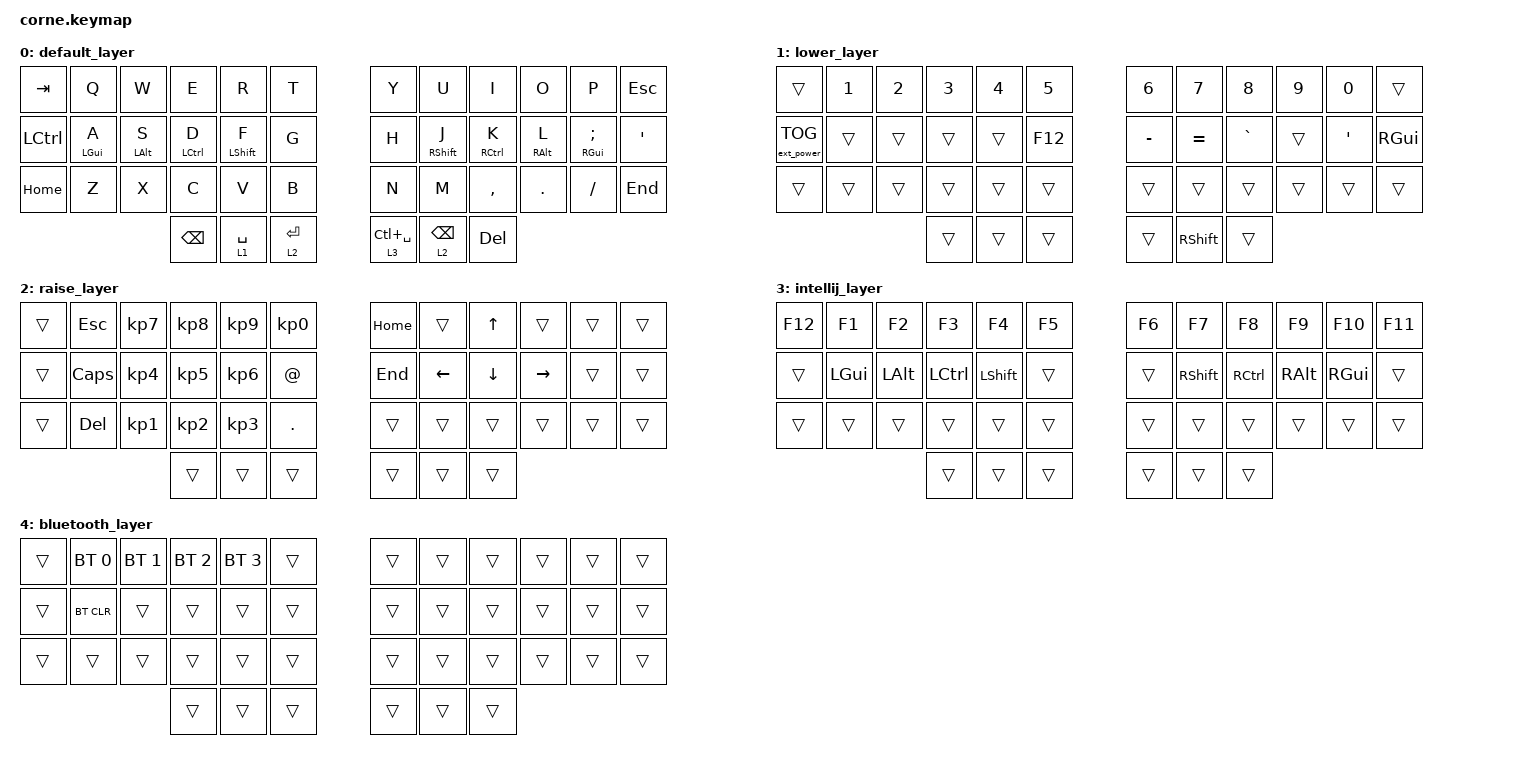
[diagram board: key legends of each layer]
/*
 * Copyright (c) 2020 The ZMK Contributors
 *
 * SPDX-License-Identifier: MIT
 */

#include <behaviors.dtsi>
#include <dt-bindings/zmk/bt.h>
#include <dt-bindings/zmk/keys.h>
#include <dt-bindings/zmk/rgb.h>
#include <dt-bindings/zmk/ext_power.h>
/ {
    behaviors {
        hm: homerow_mods {
            compatible = "zmk,behavior-hold-tap";
            label = "HOMEROW_MODS";
            #binding-cells = <2>;
            tapping-term-ms = <200>;
            quick_tap_ms = <0>;
            flavor = "tap-preferred";
            bindings = <&kp>, <&kp>;

            quick-tap-ms = <180>;
            global-quick-tap;
        };

        ltq: ltq {
            compatible = "zmk,behavior-hold-tap";
            label = "LTQ";
            bindings = <&mo>, <&kp>;

            #binding-cells = <2>;
            tapping-term-ms = <600>;
            global-quick-tap;
            quick-tap-ms = <400>;
        };
    };

    combos {
        compatible = "zmk,combos";

        left_bkt {
            bindings = <&kp LEFT_BRACKET>;
            key-positions = <4 3>;
            timeout-ms = <50>;
        };

        right_bkt {
            bindings = <&kp RBKT>;
            key-positions = <7 8>;
            timeout-ms = <50>;
        };

        left_par {
            bindings = <&kp LEFT_PARENTHESIS>;
            key-positions = <15 16>;
            timeout-ms = <50>;
        };

        right_par {
            bindings = <&kp RIGHT_PARENTHESIS>;
            key-positions = <19 20>;
            timeout-ms = <50>;
        };

        left_brace {
            bindings = <&kp LEFT_BRACE>;
            key-positions = <27 28>;
            timeout-ms = <50>;
        };

        right_brace {
            bindings = <&kp RIGHT_BRACE>;
            key-positions = <32 31>;
            timeout-ms = <50>;
        };

        bac {
            bindings = <&kp BACKSLASH>;
            key-positions = <5 6>;
        };

        pipe {
            bindings = <&kp PIPE>;
            key-positions = <17 18>;
        };

        // New combo to access layer 4 (former layer 3)
        bluetooth_layer {
            bindings = <&mo 4>;
            key-positions = <6 7 8>; // Y, U, I keys
            timeout-ms = <50>;
        };
    };

    keymap {
        compatible = "zmk,keymap";

        default_layer {
            bindings = <
&kp TAB    &kp Q           &kp W           &kp E        &kp R             &kp T        &kp Y  &kp U             &kp I          &kp O            &kp P               &kp ESC
&kp LCTRL  &hm LEFT_GUI A  &hm LEFT_ALT S  &hm LCTRL D  &hm LEFT_SHIFT F  &kp G        &kp H  &hm RSHIFT J      &hm RCTRL K    &hm RIGHT_ALT L  &hm RGUI SEMICOLON  &kp SQT
&kp HOME   &kp Z           &kp X           &kp C        &kp V             &kp B        &kp N  &kp M             &kp COMMA      &kp DOT          &kp FSLH            &kp END
                                         &kp BACKSPACE  &lt 1 SPACE       &lt 2 ENTER  &lt 3 LC(SPACE)  &ltq 2 BACKSPACE  &kp DEL
            >;
        };

        lower_layer {
            bindings = <
&trans         &kp N1     &kp N2  &kp N3  &kp N4   &kp N5     &kp N6           &kp N7     &kp N8     &kp N9   &kp N0    &trans
&ext_power EP_TOG &trans  &trans  &trans  &trans   &kp F12    &kp MINUS        &kp EQUAL  &kp GRAVE  &trans   &kp SQT   &kp RGUI
&trans         &trans     &trans  &trans  &trans   &trans     &trans           &trans     &trans     &trans   &trans    &trans
                          &trans  &trans  &trans   &trans     &kp RIGHT_SHIFT  &trans
            >;
        };

        raise_layer {
            bindings = <
&trans  &kp ESC     &kp KP_NUMBER_7  &kp KP_NUMBER_8  &kp KP_NUMBER_9  &kp KP_NUMBER_0  &kp HOME  &trans    &kp UP    &trans     &trans  &trans
&trans  &kp CAPS    &kp KP_NUMBER_4  &kp KP_NUMBER_5  &kp KP_NUMBER_6  &kp AT           &kp END   &kp LEFT  &kp DOWN  &kp RIGHT  &trans  &trans
&trans  &kp DELETE  &kp KP_NUMBER_1  &kp KP_NUMBER_2  &kp KP_NUMBER_3  &kp DOT          &trans    &trans    &trans    &trans     &trans  &trans
                                     &trans           &trans           &trans           &trans    &trans    &trans
    >;
};

intellij_layer {
    bindings = <
&kp F12  &kp F1        &kp F2        &kp F3     &kp F4          &kp F5       &kp F6  &kp F7      &kp F8     &kp F9         &kp F10   &kp F11 
&trans   &kp LEFT_GUI  &kp LEFT_ALT  &kp LCTRL  &kp LEFT_SHIFT  &trans       &trans  &kp RSHIFT  &kp RCTRL  &kp RIGHT_ALT  &kp RGUI  &trans
&trans   &trans        &trans        &trans     &trans          &trans       &trans  &trans      &trans     &trans         &trans    &trans
                                     &trans     &trans          &trans       &trans  &trans      &trans
    >;
};

        bluetooth_layer {
            bindings = <
&trans  &bt BT_SEL 0  &bt BT_SEL 1  &bt BT_SEL 2  &bt BT_SEL 3  &trans  &trans  &trans  &trans  &trans  &trans  &trans
&trans  &bt BT_CLR    &trans        &trans        &trans        &trans  &trans  &trans  &trans  &trans  &trans  &trans
&trans  &trans        &trans        &trans        &trans        &trans  &trans  &trans  &trans  &trans  &trans  &trans
                                    &trans        &trans        &trans  &trans  &trans  &trans
            >;
        };
        extra1 {
            status = "reserved";
        };
        extra2 {
            status = "reserved";
        };
        extra3 {
            status = "reserved";
        };
        extra4 {
            status = "reserved";
        };

    };
};
